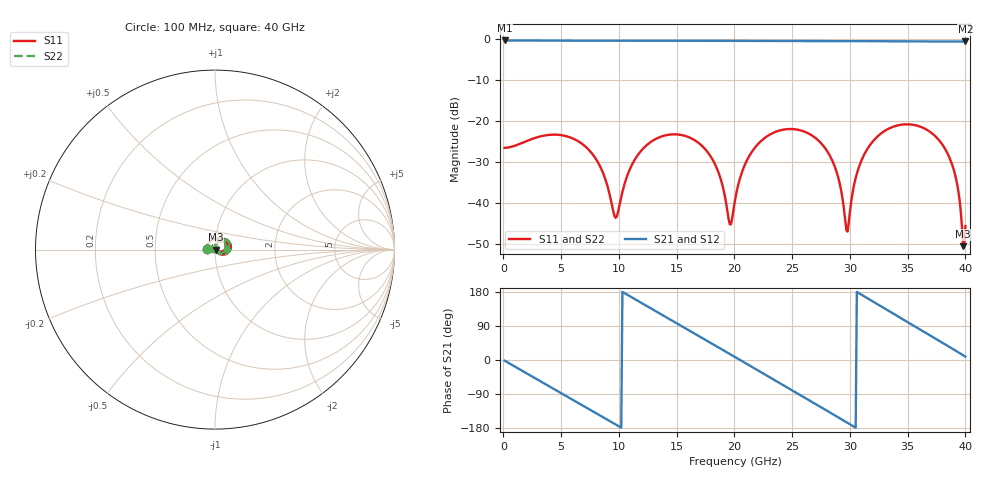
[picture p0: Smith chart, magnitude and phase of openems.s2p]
! thru_BV_vna_rf_hblb1_in: 2×thru F.Cu, 8 mm
! stackup: as the board case
! ports: 1 near, 2 far
! openEMS 0.37.0, staircase, fine mesh (dfine 0.0175 mm), 1152480 cells
# Hz S RI R 50
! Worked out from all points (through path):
!   400 points, 100 MHz to 40 GHz, reference 50 ohm
!   highest |S21| = -0.42 dB at 100 MHz (marker M1); lowest = -0.7 dB at 40 GHz (marker M2)
!   group delay of S21, straight-line fit = 49.3 ps
!   lowest |S11| = -50.5 dB at 39.8 GHz (marker M3), VSWR 1.01, Z = 50.3 - j0.0423 ohm
!   |S11| at or under -10 dB: start of sweep to end of sweep
!   |S22| runs from -50.5 to -20.8 dB; largest |S21 - S12| = 0
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1e8  -0.0469 0.00332  0.9522 -0.0292  0.9522 -0.0292  -0.0469 0.00332
3.7e9  0.0322 0.0587  0.4023 -0.8591  0.4023 -0.8591  0.0322 0.0587
6.8e9  0.0527 -0.00181  -0.4588 -0.8275  -0.4588 -0.8275  0.0527 -0.00181
8.5e9  0.0229 -0.0113  -0.8092 -0.4912  -0.8092 -0.4912  0.0229 -0.0113
9.7e9  0.00611 0.00254  -0.9319 -0.1678  -0.9319 -0.1678  0.00611 0.00254
1.12e10  0.00679 0.0299  -0.909 0.2634  -0.909 0.2634  0.00679 0.0299
1.34e10  0.0441 0.0441  -0.5439 0.772  -0.5439 0.772  0.0441 0.0441
1.65e10  0.0586 -0.00622  0.312 0.8896  0.312 0.8896  0.0586 -0.00622
1.85e10  0.0217 -0.0145  0.769 0.5457  0.769 0.5457  0.0217 -0.0145
1.96e10  0.00534 0.00133  0.9069 0.2577  0.9069 0.2577  0.00534 0.00133
2.01e10  0.00218 0.0116  0.9355 0.1146  0.9355 0.1146  0.00218 0.0116
2.25e10  0.0301 0.052  0.7633 -0.5478  0.7633 -0.5478  0.0301 0.052
2.67e10  0.0657 -0.0113  -0.3251 -0.8775  -0.3251 -0.8775  0.0657 -0.0113
2.87e10  0.0214 -0.0174  -0.7775 -0.5215  -0.7775 -0.5215  0.0214 -0.0174
2.98e10  0.0036 0.00272  -0.908 -0.227  -0.908 -0.227  0.0036 0.00272
3.09e10  0.00271 0.0304  -0.9299 0.0948  -0.9299 0.0948  0.00271 0.0304
3.34e10  0.0562 0.0583  -0.5853 0.7224  -0.5853 0.7224  0.0562 0.0583
3.57e10  0.0878 0.00982  0.0406 0.9254  0.0406 0.9254  0.0878 0.00982
3.81e10  0.0405 -0.0281  0.6676 0.642  0.6676 0.642  0.0405 -0.0281
3.93e10  0.0106 -0.0128  0.8594 0.3454  0.8594 0.3454  0.0106 -0.0128
3.98e10  0.00296 -0.000421  0.9033 0.2035  0.9033 0.2035  0.00296 -0.000421
4e10  0.00106 0.00515  0.9143 0.145  0.9143 0.145  0.00106 0.00515
